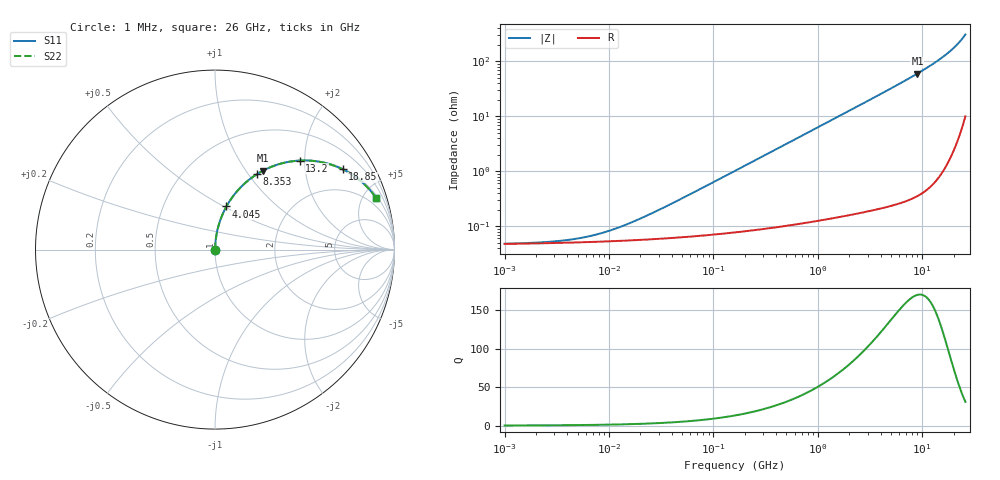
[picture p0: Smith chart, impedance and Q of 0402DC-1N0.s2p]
# MHz  S  MA  R  50
!Freq  MagS11  AngS11  MagS21  AngS21  MagS12  AngS12  MagS22  AngS22
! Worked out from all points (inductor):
!   801 points, 1 MHz to 26 GHz, reference 50 ohm
!   read as one part in series: L = 1 nH near 28 MHz
!   highest Q = 170 at 9.015 GHz (marker M1), where L = 1.06 nH
!   S11 on the Smith chart (normalised r, x): 1 MHz: 1.00, +0.00; 4.045 GHz: 1.00, +0.51; 8.353 GHz: 1.01, +1.10; 13.2 GHz: 1.01, +1.89; 18.85 GHz: 1.04, +3.15; 26 GHz: 1.20, +6.18
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1  0.0004791 7.5  0.9995 -0.0  0.9995 -0.0  0.0004791 7.5
2.731315  0.0005205 19.2  0.9995 -0.0  0.9995 -0.0  0.0005205 19.2
5.497621  0.0006149 34.1  0.9995 -0.0  0.9995 -0.0  0.0006149 34.1
8.051663  0.0007262 44.1  0.9995 -0.0  0.9995 -0.0  0.0007262 44.1
11.94318  0.0009223 54.4  0.9995 -0.0  0.9995 -0.0  0.0009223 54.4
18.17197  0.00127 63.9  0.9994 -0.1  0.9994 -0.1  0.00127 63.9
29.84186  0.001964 72.5  0.9994 -0.1  0.9994 -0.1  0.001964 72.5
161.9858  0.0102 85.1  0.9992 -0.6  0.9992 -0.6  0.0102 85.1
425.8707  0.02674 86.4  0.9987 -1.5  0.9987 -1.5  0.02674 86.4
879.282  0.05514 85.6  0.9973 -3.2  0.9973 -3.2  0.05514 85.6
2009.871  0.1255 82.1  0.9905 -7.2  0.9905 -7.2  0.1255 82.1
4045.492  0.2485 75.1  0.9666 -14.4  0.9666 -14.4  0.2485 75.1
4833.96  0.2944 72.5  0.9535 -17.1  0.9535 -17.1  0.2944 72.5
6476.613  0.3857 66.9  0.9201 -22.7  0.9201 -22.7  0.3857 66.9
8352.602  0.4819 60.9  0.8734 -28.8  0.8734 -28.8  0.4819 60.9
9014.963  0.5135 58.8  0.8551 -30.9  0.8551 -30.9  0.5135 58.8
10909.86  0.5971 53.0  0.7986 -36.7  0.7986 -36.7  0.5971 53.0
13203.06  0.6844 46.4  0.7246 -43.2  0.7246 -43.2  0.6844 46.4
15776.35  0.7651 39.6  0.6377 -49.9  0.6377 -49.9  0.7651 39.6
18851.16  0.8399 32.2  0.5331 -57.1  0.5331 -57.1  0.8399 32.2
21959.5  0.8952 25.5  0.4304 -63.5  0.4304 -63.5  0.8952 25.5
26000  0.9426 17.7  0.3049 -70.4  0.3049 -70.4  0.9426 17.7
